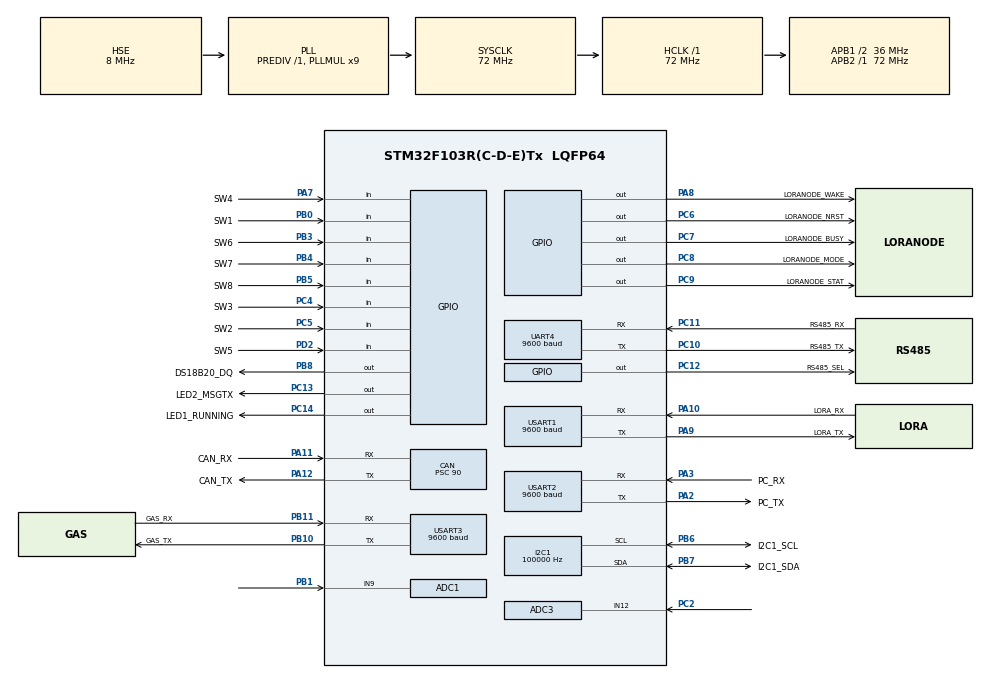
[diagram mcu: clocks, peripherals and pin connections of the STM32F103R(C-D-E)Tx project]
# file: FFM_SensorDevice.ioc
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ADC1.Channel-0\#ChannelRegularConversion=ADC_CHANNEL_9
ADC1.InjNumberOfConversion=0
ADC1.NbrOfConversionFlag=1
ADC1.Rank-0\#ChannelRegularConversion=1
ADC1.SamplingTime-0\#ChannelRegularConversion=ADC_SAMPLETIME_239CYCLES_5
ADC1.master=1
ADC3.Channel-0\#ChannelRegularConversion=ADC_CHANNEL_12
ADC3.NbrOfConversionFlag=1
ADC3.Rank-0\#ChannelRegularConversion=1
ADC3.SamplingTime-0\#ChannelRegularConversion=ADC_SAMPLETIME_239CYCLES_5
CAN.BS1=CAN_BS1_6TQ
CAN.CalculateTimeBit=20000
CAN.CalculateTimeQuantum=2500.0
CAN.Prescaler=90
CAN.TXFP=DISABLE
Dma.ADC1.1.Direction=DMA_PERIPH_TO_MEMORY
Dma.ADC1.1.Instance=DMA1_Channel1
Dma.ADC1.1.MemDataAlignment=DMA_MDATAALIGN_HALFWORD
Dma.ADC1.1.MemInc=DMA_MINC_ENABLE
Dma.ADC1.1.Mode=DMA_NORMAL
Dma.ADC1.1.PeriphDataAlignment=DMA_PDATAALIGN_HALFWORD
Dma.ADC1.1.PeriphInc=DMA_PINC_DISABLE
Dma.ADC1.1.Priority=DMA_PRIORITY_LOW
Dma.Request0=USART1_RX
Dma.Request1=ADC1
Dma.Request2=USART2_RX
Dma.Request3=USART2_TX
Dma.Request4=UART4_RX
Dma.Request5=UART4_TX
Dma.Request6=USART3_RX
Dma.UART4_RX.4.Direction=DMA_PERIPH_TO_MEMORY
Dma.UART4_RX.4.Instance=DMA2_Channel3
Dma.UART4_RX.4.MemDataAlignment=DMA_MDATAALIGN_BYTE
Dma.UART4_RX.4.MemInc=DMA_MINC_ENABLE
Dma.UART4_RX.4.Mode=DMA_CIRCULAR
Dma.UART4_RX.4.PeriphDataAlignment=DMA_PDATAALIGN_BYTE
Dma.UART4_RX.4.PeriphInc=DMA_PINC_DISABLE
Dma.UART4_RX.4.Priority=DMA_PRIORITY_LOW
Dma.UART4_TX.5.Direction=DMA_MEMORY_TO_PERIPH
Dma.UART4_TX.5.Instance=DMA2_Channel5
Dma.UART4_TX.5.MemDataAlignment=DMA_MDATAALIGN_BYTE
Dma.UART4_TX.5.MemInc=DMA_MINC_ENABLE
Dma.UART4_TX.5.Mode=DMA_NORMAL
Dma.UART4_TX.5.PeriphDataAlignment=DMA_PDATAALIGN_BYTE
Dma.UART4_TX.5.PeriphInc=DMA_PINC_DISABLE
Dma.UART4_TX.5.Priority=DMA_PRIORITY_LOW
Dma.USART1_RX.0.Direction=DMA_PERIPH_TO_MEMORY
Dma.USART1_RX.0.Instance=DMA1_Channel5
Dma.USART1_RX.0.MemDataAlignment=DMA_MDATAALIGN_BYTE
Dma.USART1_RX.0.MemInc=DMA_MINC_ENABLE
Dma.USART1_RX.0.Mode=DMA_CIRCULAR
Dma.USART1_RX.0.PeriphDataAlignment=DMA_PDATAALIGN_BYTE
Dma.USART1_RX.0.PeriphInc=DMA_PINC_DISABLE
Dma.USART1_RX.0.Priority=DMA_PRIORITY_LOW
Dma.USART2_RX.2.Direction=DMA_PERIPH_TO_MEMORY
Dma.USART2_RX.2.Instance=DMA1_Channel6
Dma.USART2_RX.2.MemDataAlignment=DMA_MDATAALIGN_BYTE
Dma.USART2_RX.2.MemInc=DMA_MINC_ENABLE
Dma.USART2_RX.2.Mode=DMA_CIRCULAR
Dma.USART2_RX.2.PeriphDataAlignment=DMA_PDATAALIGN_BYTE
Dma.USART2_RX.2.PeriphInc=DMA_PINC_DISABLE
Dma.USART2_RX.2.Priority=DMA_PRIORITY_LOW
Dma.USART2_TX.3.Direction=DMA_MEMORY_TO_PERIPH
Dma.USART2_TX.3.Instance=DMA1_Channel7
Dma.USART2_TX.3.MemDataAlignment=DMA_MDATAALIGN_BYTE
Dma.USART2_TX.3.MemInc=DMA_MINC_ENABLE
Dma.USART2_TX.3.Mode=DMA_NORMAL
Dma.USART2_TX.3.PeriphDataAlignment=DMA_PDATAALIGN_BYTE
Dma.USART2_TX.3.PeriphInc=DMA_PINC_DISABLE
Dma.USART2_TX.3.Priority=DMA_PRIORITY_LOW
Dma.USART3_RX.6.Direction=DMA_PERIPH_TO_MEMORY
Dma.USART3_RX.6.Instance=DMA1_Channel3
Dma.USART3_RX.6.MemDataAlignment=DMA_MDATAALIGN_BYTE
Dma.USART3_RX.6.MemInc=DMA_MINC_ENABLE
Dma.USART3_RX.6.Mode=DMA_CIRCULAR
Dma.USART3_RX.6.PeriphDataAlignment=DMA_PDATAALIGN_BYTE
Dma.USART3_RX.6.PeriphInc=DMA_PINC_DISABLE
Dma.USART3_RX.6.Priority=DMA_PRIORITY_LOW
I2C1.ClockSpeed=100000
IWDG.Prescaler=IWDG_PRESCALER_64
IWDG.Reload=625*5
Mcu.Family=STM32F1
Mcu.Name=STM32F103R(C-D-E)Tx
Mcu.Package=LQFP64
NVIC.DMA1_Channel1_IRQn=true\:0\:0\:false\:true\:true\:6\:false\:true
NVIC.DMA1_Channel3_IRQn=true\:0\:0\:false\:false\:true\:false\:true
NVIC.DMA1_Channel5_IRQn=true\:0\:0\:false\:true\:true\:1\:false\:true
NVIC.DMA1_Channel6_IRQn=true\:0\:0\:false\:true\:true\:4\:false\:true
NVIC.DMA1_Channel7_IRQn=true\:0\:0\:false\:true\:true\:5\:false\:true
NVIC.DMA2_Channel3_IRQn=true\:0\:0\:false\:false\:true\:false\:true
NVIC.DMA2_Channel4_5_IRQn=true\:0\:0\:false\:false\:true\:false\:true
NVIC.PriorityGroup=NVIC_PRIORITYGROUP_4
NVIC.TIM3_IRQn=true\:0\:0\:false\:false\:true\:true\:true
NVIC.TIM5_IRQn=true\:0\:0\:true\:false\:true\:true\:true
NVIC.UART4_IRQn=true\:0\:0\:false\:false\:true\:true\:true
NVIC.USART1_IRQn=true\:0\:0\:true\:true\:true\:2\:true\:true
NVIC.USART2_IRQn=true\:0\:0\:false\:true\:true\:3\:true\:true
NVIC.USART3_IRQn=true\:0\:0\:false\:false\:true\:true\:true
NVIC.USB_LP_CAN1_RX0_IRQn=true\:0\:0\:false\:false\:true\:true\:true
PA10.GPIO_Label=LORA_RX
PA10.Mode=Asynchronous
PA10.Signal=USART1_RX
PA11.GPIO_Label=CAN_RX
PA11.Mode=Master
PA11.Signal=CAN_RX
PA12.GPIO_Label=CAN_TX
PA12.Mode=Master
PA12.Signal=CAN_TX
PA13.Mode=Serial_Wire
PA13.Signal=SYS_JTMS-SWDIO
PA14.Mode=Serial_Wire
PA14.Signal=SYS_JTCK-SWCLK
PA2.GPIO_Label=PC_TX
PA2.Mode=Asynchronous
PA2.Signal=USART2_TX
PA3.GPIO_Label=PC_RX
PA3.Mode=Asynchronous
PA3.Signal=USART2_RX
PA7.GPIO_Label=SW4
PA7.GPIO_PuPd=GPIO_PULLDOWN
PA7.Signal=GPIO_Input
PA8.GPIO_Label=LORANODE_WAKE
PA8.Signal=GPIO_Output
PA9.GPIO_Label=LORA_TX
PA9.Mode=Asynchronous
PA9.Signal=USART1_TX
PB0.GPIO_Label=SW1
PB0.GPIO_PuPd=GPIO_PULLDOWN
PB0.Signal=GPIO_Input
PB1.Signal=ADCx_IN9
PB10.GPIO_Label=GAS_TX
PB10.Mode=Asynchronous
PB10.Signal=USART3_TX
PB11.GPIO_Label=GAS_RX
PB11.Mode=Asynchronous
PB11.Signal=USART3_RX
PB3.GPIO_Label=SW6
PB3.GPIO_PuPd=GPIO_PULLDOWN
PB3.Signal=GPIO_Input
PB4.GPIO_Label=SW7
PB4.GPIO_PuPd=GPIO_PULLDOWN
PB4.Signal=GPIO_Input
PB5.GPIO_Label=SW8
PB5.GPIO_PuPd=GPIO_PULLDOWN
PB5.Signal=GPIO_Input
PB6.GPIO_Label=I2C1_SCL
PB6.Mode=I2C
PB6.Signal=I2C1_SCL
PB7.GPIO_Label=I2C1_SDA
PB7.Mode=I2C
PB7.Signal=I2C1_SDA
PB8.GPIO_Label=DS18B20_DQ
PB8.Signal=GPIO_Output
PC10.GPIO_Label=RS485_TX
PC10.Mode=Asynchronous
PC10.Signal=UART4_TX
PC11.GPIO_Label=RS485_RX
PC11.GPIO_PuPd=GPIO_NOPULL
PC11.Mode=Asynchronous
PC11.Signal=UART4_RX
PC12.GPIO_Label=RS485_SEL
PC12.Signal=GPIO_Output
PC13-TAMPER-RTC.GPIO_Label=LED2_MSGTX
PC13-TAMPER-RTC.Signal=GPIO_Output
PC14-OSC32_IN.GPIO_Label=LED1_RUNNING
PC14-OSC32_IN.Signal=GPIO_Output
PC2.Signal=ADCx_IN12
PC4.GPIO_Label=SW3
PC4.GPIO_PuPd=GPIO_PULLDOWN
PC4.Signal=GPIO_Input
PC5.GPIO_Label=SW2
PC5.GPIO_PuPd=GPIO_PULLDOWN
PC5.Signal=GPIO_Input
PC6.GPIO_Label=LORANODE_NRST
PC6.Signal=GPIO_Output
PC7.GPIO_Label=LORANODE_BUSY
PC7.Signal=GPIO_Output
PC8.GPIO_Label=LORANODE_MODE
PC8.Signal=GPIO_Output
PC9.GPIO_Label=LORANODE_STAT
PC9.Signal=GPIO_Output
PD0-OSC_IN.Mode=HSE-External-Oscillator
PD0-OSC_IN.Signal=RCC_OSC_IN
PD1-OSC_OUT.Mode=HSE-External-Oscillator
PD1-OSC_OUT.Signal=RCC_OSC_OUT
PD2.GPIO_Label=SW5
PD2.GPIO_PuPd=GPIO_PULLDOWN
PD2.Signal=GPIO_Input
ProjectManager.HeapSize=0x200
ProjectManager.StackSize=0x400
ProjectManager.TargetToolchain=TrueSTUDIO
RCC.ADCPresc=RCC_ADCPCLK2_DIV6
RCC.AHBFreq_Value=72000000
RCC.APB1CLKDivider=RCC_HCLK_DIV2
RCC.APB1Freq_Value=36000000
RCC.APB1TimFreq_Value=72000000
RCC.APB2Freq_Value=72000000
RCC.APB2TimFreq_Value=72000000
RCC.HCLKFreq_Value=72000000
RCC.PLLMUL=RCC_PLL_MUL9
RCC.PLLSourceVirtual=RCC_PLLSOURCE_HSE
RCC.SYSCLKFreq_VALUE=72000000
RCC.SYSCLKSource=RCC_SYSCLKSOURCE_PLLCLK
RCC.USBFreq_Value=72000000
SH.ADCx_IN12.0=ADC3_IN12,IN12
SH.ADCx_IN9.0=ADC1_IN9,IN9
TIM2.Period=2-1
TIM2.Prescaler=72-1
TIM3.Period=10000-1
TIM3.Prescaler=7200-1
TIM5.AutoReloadPreload=TIM_AUTORELOAD_PRELOAD_DISABLE
TIM5.Period=50000-1
TIM5.Prescaler=7200-1
UART4.BaudRate=9600
UART4.VirtualMode=Asynchronous
USART1.BaudRate=9600
USART1.VirtualMode=VM_ASYNC
USART2.BaudRate=9600
USART2.VirtualMode=VM_ASYNC
USART3.BaudRate=9600
USART3.VirtualMode=VM_ASYNC
VP_IWDG_VS_IWDG.Mode=IWDG_Activate
VP_TIM2_VS_ClockSourceINT.Mode=Internal
VP_TIM3_VS_ClockSourceINT.Mode=Internal
VP_TIM5_VS_ClockSourceINT.Mode=Internal
board=custom

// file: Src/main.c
/* USER CODE BEGIN Header */
/**
  ******************************************************************************
  * @file           : main.c
  * @brief          : Main program body
  ******************************************************************************
  * @attention
  *
  * <h2><center>&copy; Copyright (c) 2019 STMicroelectronics.
  * All rights reserved.</center></h2>
  *
  * This software component is licensed by ST under BSD 3-Clause license,
  * the "License"; You may not use this file except in compliance with the
  * License. You may obtain a copy of the License at:
  *                        opensource.org/licenses/BSD-3-Clause
  *
  ******************************************************************************
  */
/* USER CODE END Header */

#include "main.h"
#include "adc.h"
#include "can.h"
#include "dma.h"
#include "i2c.h"
#include "iwdg.h"
#include "tim.h"
#include "usart.h"
#include "gpio.h"

/* USER CODE BEGIN Includes */
#include "SensorAnalysis.h"
#include "RS485Analysis.h"
#include "LoraAnalysis.h"
#include "CanAnalysis.h"
#include "LoraNode.h"
#include "SHT30.h"
#include "Led.h"
/* USER CODE END Includes */

void SystemClock_Config(void);
static void MX_NVIC_Init(void);

int main(void)
{

  /* MCU Configuration--------------------------------------------------------*/

  /* Reset of all peripherals, Initializes the Flash interface and the Systick. */
  HAL_Init();

  /* Configure the system clock */
  SystemClock_Config();

  /* Initialize all configured peripherals */
  MX_GPIO_Init();
  MX_DMA_Init();
  MX_ADC1_Init();
  MX_I2C1_Init();
  MX_UART4_Init();
  MX_USART1_UART_Init();
  MX_USART3_UART_Init();
  MX_TIM5_Init();
  MX_TIM2_Init();
  MX_USART2_UART_Init();
  MX_CAN_Init();
  MX_IWDG_Init();
  MX_ADC3_Init();
  MX_TIM3_Init();

  /* Initialize interrupts */
  MX_NVIC_Init();
  /* USER CODE BEGIN 2 */

  HAL_IWDG_Init(&hiwdg);                //初始化并开启iwdg
  HAL_TIM_Base_Start_IT(&htim3);        //使能定时器3中断，1s进入一次，
  HAL_TIM_Base_Start_IT(&htim5);        //使能定时器5中断，5s进入一次，控制读取传感器数值频率

  //串口空闲中断初始化
  UART_IT_IDLE_InitAll();

  //硬件初始化
  Hardware_Init();

  /* USER CODE END 2 */

  /* Infinite loop */
  while (1)
  {

    /* USER CODE BEGIN 3 */
	SensorAnalysis();
	RS485Analysis();
//	LoraAnalysis();
//	CanAnalysis();

	HAL_IWDG_Refresh(&hiwdg);     //喂狗，即重新加载计数值
  }
  /* USER CODE END 3 */
}

void SystemClock_Config(void)
{
  RCC_OscInitTypeDef RCC_OscInitStruct = {0};
  RCC_ClkInitTypeDef RCC_ClkInitStruct = {0};
  RCC_PeriphCLKInitTypeDef PeriphClkInit = {0};

  /** Initializes the CPU, AHB and APB busses clocks
  */
  RCC_OscInitStruct.OscillatorType = RCC_OSCILLATORTYPE_LSI|RCC_OSCILLATORTYPE_HSE;
  RCC_OscInitStruct.HSEState = RCC_HSE_ON;
  RCC_OscInitStruct.HSEPredivValue = RCC_HSE_PREDIV_DIV1;
  RCC_OscInitStruct.HSIState = RCC_HSI_ON;
  RCC_OscInitStruct.LSIState = RCC_LSI_ON;
  RCC_OscInitStruct.PLL.PLLState = RCC_PLL_ON;
  RCC_OscInitStruct.PLL.PLLSource = RCC_PLLSOURCE_HSE;
  RCC_OscInitStruct.PLL.PLLMUL = RCC_PLL_MUL9;
  if (HAL_RCC_OscConfig(&RCC_OscInitStruct) != HAL_OK)
  {
    Error_Handler();
  }
  /** Initializes the CPU, AHB and APB busses clocks
  */
  RCC_ClkInitStruct.ClockType = RCC_CLOCKTYPE_HCLK|RCC_CLOCKTYPE_SYSCLK
                              |RCC_CLOCKTYPE_PCLK1|RCC_CLOCKTYPE_PCLK2;
  RCC_ClkInitStruct.SYSCLKSource = RCC_SYSCLKSOURCE_PLLCLK;
  RCC_ClkInitStruct.AHBCLKDivider = RCC_SYSCLK_DIV1;
  RCC_ClkInitStruct.APB1CLKDivider = RCC_HCLK_DIV2;
  RCC_ClkInitStruct.APB2CLKDivider = RCC_HCLK_DIV1;

  if (HAL_RCC_ClockConfig(&RCC_ClkInitStruct, FLASH_LATENCY_2) != HAL_OK)
  {
    Error_Handler();
  }
  PeriphClkInit.PeriphClockSelection = RCC_PERIPHCLK_ADC;
  PeriphClkInit.AdcClockSelection = RCC_ADCPCLK2_DIV6;
  if (HAL_RCCEx_PeriphCLKConfig(&PeriphClkInit) != HAL_OK)
  {
    Error_Handler();
  }
}

/**
  * @brief NVIC Configuration.
  * @retval None
  */
static void MX_NVIC_Init(void)
{
  /* DMA1_Channel5_IRQn interrupt configuration */
  HAL_NVIC_SetPriority(DMA1_Channel5_IRQn, 0, 0);
  HAL_NVIC_EnableIRQ(DMA1_Channel5_IRQn);
  /* USART1_IRQn interrupt configuration */
  HAL_NVIC_SetPriority(USART1_IRQn, 0, 0);
  HAL_NVIC_EnableIRQ(USART1_IRQn);
  /* USART2_IRQn interrupt configuration */
  HAL_NVIC_SetPriority(USART2_IRQn, 0, 0);
  HAL_NVIC_EnableIRQ(USART2_IRQn);
  /* DMA1_Channel6_IRQn interrupt configuration */
  HAL_NVIC_SetPriority(DMA1_Channel6_IRQn, 0, 0);
  HAL_NVIC_EnableIRQ(DMA1_Channel6_IRQn);
  /* DMA1_Channel7_IRQn interrupt configuration */
  HAL_NVIC_SetPriority(DMA1_Channel7_IRQn, 0, 0);
  HAL_NVIC_EnableIRQ(DMA1_Channel7_IRQn);
  /* DMA1_Channel1_IRQn interrupt configuration */
  HAL_NVIC_SetPriority(DMA1_Channel1_IRQn, 0, 0);
  HAL_NVIC_EnableIRQ(DMA1_Channel1_IRQn);
}

void Error_Handler(void)
{
}

/************************ (C) COPYRIGHT STMicroelectronics *****END OF FILE****/
